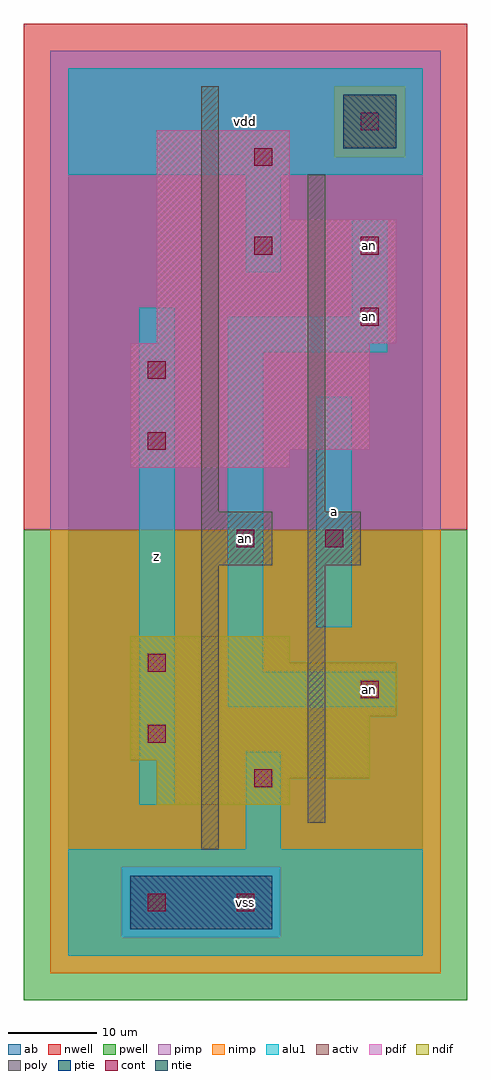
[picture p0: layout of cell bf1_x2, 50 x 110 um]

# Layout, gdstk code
import gdstk
lib = gdstk.Library(unit=1e-6, precision=1e-09)
def R(c, l, rs):  # rectangles x0, y0, x1, y1
    for r in rs: c.add(gdstk.rectangle(r[:2], r[2:], *l))
ndif = (3, 0)
pdif = (4, 0)
ntie = (5, 0)
ptie = (6, 0)
cont = (25, 0)
pwell = (41, 0)
nwell = (42, 0)
activ = (43, 0)
pimp = (44, 0)
nimp = (45, 0)
poly = (46, 0)
alu1 = (49, 0)
ab = (63, 0)

bf1_x2 = lib.new_cell('bf1_x2')
R(bf1_x2, ndif, [(10,17,25,20), (10,20,34,22), (7,22,34,27), (7,27,37,33), (7,33,25,36)])
R(bf1_x2, pdif, [(7,55,25,57), (7,57,34,69), (10,69,37,83), (10,83,25,93)])
R(bf1_x2, ntie, [(31,91,37,97)])
R(bf1_x2, ptie, [(7,3,23,9)])
R(bf1_x2, cont, [(9,5,11,7), (19,5,21,7), (21,19,23,21), (9,24,11,26), (33,29,35,31), (9,32,11,34), (19,46,21,48), (29,46,31,48), (9,57,11,59), (9,65,11,67), (33,71,35,73), (21,79,23,81), (33,79,35,81), (21,89,23,91), (33,93,35,95)])
R(bf1_x2, pwell, [(-5,-5,45,48)])
R(bf1_x2, nwell, [(-5,48,45,105)])
R(bf1_x2, activ, [(7,3,23,9), (10,17,25,20), (10,20,34,22), (7,22,34,27), (7,27,37,33), (7,33,25,36), (7,55,25,57), (7,57,34,69), (10,69,37,83), (10,83,25,93), (31,91,37,97)])
R(bf1_x2, pimp, [(6,2,24,10), (-2,48,42,90), (-2,90,30,98), (38,90,42,98), (-2,98,42,102)])
R(bf1_x2, nimp, [(-2,-2,42,2), (-2,2,6,10), (24,2,42,10), (-2,10,42,48), (30,90,38,98)])
R(bf1_x2, poly, [(15,12,17,44), (27,15,29,44), (15,44,23,50), (27,44,33,50), (15,50,17,98), (27,50,29,88)])
R(bf1_x2, alu1, [(0,0,40,12), (20,12,24,23), (8,17,12,73), (18,28,37,32), (18,32,22,68), (28,37,32,63), (18,68,36,72), (32,72,36,83), (20,77,24,88), (0,88,40,100)])
R(bf1_x2, ab, [(0,0,40,100)])
bf1_x2.add(gdstk.Label('an', (20,47), layer=49, texttype=0))
bf1_x2.add(gdstk.Label('an', (34,30), layer=49, texttype=0))
bf1_x2.add(gdstk.Label('an', (34,80), layer=49, texttype=0))
bf1_x2.add(gdstk.Label('an', (34,72), layer=49, texttype=0))
bf1_x2.add(gdstk.Label('vss', (20,6), layer=49, texttype=0))
bf1_x2.add(gdstk.Label('z', (10,45), layer=49, texttype=0))
bf1_x2.add(gdstk.Label('vdd', (20,94), layer=49, texttype=0))
bf1_x2.add(gdstk.Label('a', (30,50), layer=49, texttype=0))

lib.write_gds('bf1_x2.gds')
